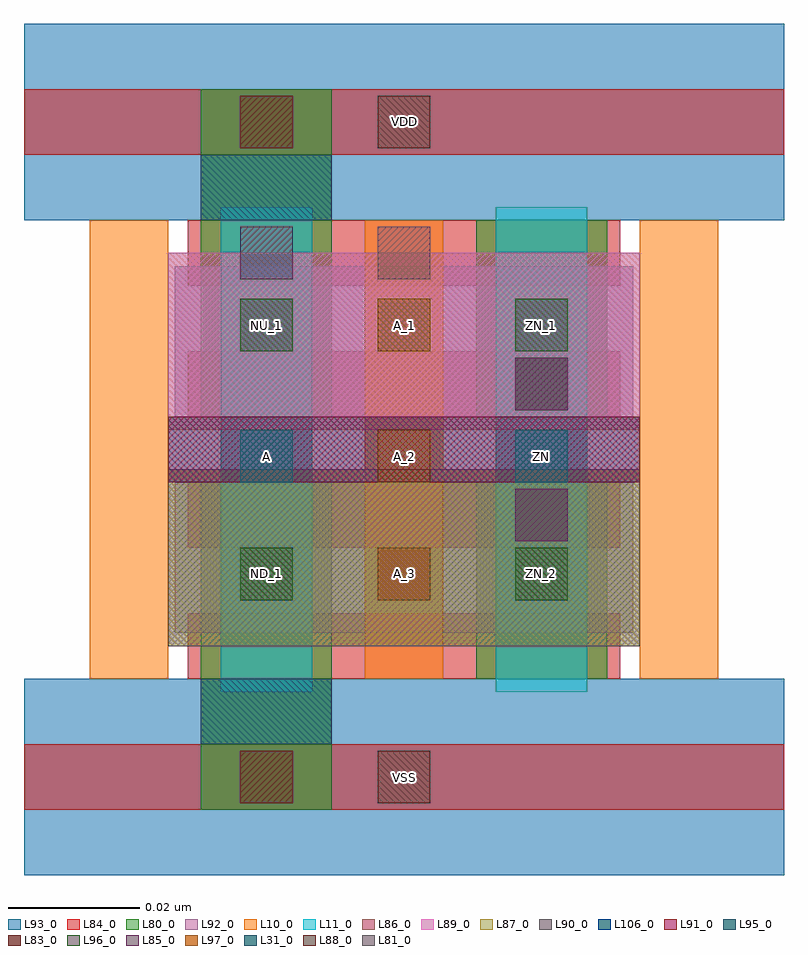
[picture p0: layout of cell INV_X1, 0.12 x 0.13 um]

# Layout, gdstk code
import gdstk
lib = gdstk.Library(unit=1e-6, precision=1e-09)
def R(c, l, rs):  # rectangles x0, y0, x1, y1
    for r in rs: c.add(gdstk.rectangle(r[:2], r[2:], *l))
def A(c, l, x, y, w, h, nx, ny, dx, dy):  # array of equal rectangles
    R(c, l, [(x+i*dx, y+j*dy, x+i*dx+w, y+j*dy+h) for i in range(nx) for j in range(ny)])
L10_0 = (10, 0)
L11_0 = (11, 0)
L31_0 = (31, 0)
L80_0 = (80, 0)
L81_0 = (81, 0)
L83_0 = (83, 0)
L84_0 = (84, 0)
L85_0 = (85, 0)
L86_0 = (86, 0)
L87_0 = (87, 0)
L88_0 = (88, 0)
L89_0 = (89, 0)
L90_0 = (90, 0)
L91_0 = (91, 0)
L92_0 = (92, 0)
L93_0 = (93, 0)
L95_0 = (95, 0)
L96_0 = (96, 0)
L97_0 = (97, 0)
L106_0 = (106, 0)

inv_x1 = lib.new_cell('INV_X1')
A(inv_x1, L10_0, -0.027, 0.015, 0.012, 0.07, 3, 1, 0.042, 0)
R(inv_x1, L11_0, [(-0.007,0.013,0.007,0.087), (0.035,0.013,0.049,0.087)])
R(inv_x1, L31_0, [(-0.004,0.045,0.004,0.053), (0.038,0.045,0.046,0.053)])
R(inv_x1, L80_0, [(-0.01,-0.005,0.01,0.025), (-0.01,0.015,0.01,0.045), (0.032,0.015,0.052,0.045), (-0.01,0.055,0.01,0.085), (0.032,0.055,0.052,0.085), (-0.01,0.075,0.01,0.105)])
R(inv_x1, L81_0, [(0.017,0.076,0.025,0.084)])
R(inv_x1, L83_0, [(-0.004,-0.004,0.004,0.004), (0.038,0.036,0.046,0.044), (0.038,0.056,0.046,0.064), (-0.004,0.096,0.004,0.104)])
A(inv_x1, L84_0, -0.012, 0.015, 0.066, 0.01, 1, 4, 0, 0.02)
R(inv_x1, L84_0, [(-0.037,-0.005,0.079,0.005), (-0.037,0.095,0.079,0.105)])
R(inv_x1, L85_0, [(0.038,0.036,0.046,0.044), (0.038,0.056,0.046,0.064), (-0.004,0.076,0.004,0.084)])
R(inv_x1, L86_0, [(-0.015,0.053,0.057,0.08)])
R(inv_x1, L87_0, [(-0.015,0.02,0.057,0.047)])
R(inv_x1, L88_0, [(0.017,-0.004,0.025,0.004), (0.017,0.096,0.025,0.104)])
R(inv_x1, L89_0, [(-0.015,0.053,0.057,0.08)])
R(inv_x1, L90_0, [(-0.015,0.02,0.057,0.047)])
R(inv_x1, L91_0, [(-0.015,0.045,0.057,0.055)])
R(inv_x1, L92_0, [(-0.014,0.022,0.056,0.045), (-0.014,0.055,0.056,0.078)])
R(inv_x1, L93_0, [(-0.037,-0.015,0.079,0.015), (-0.037,0.085,0.079,0.115)])
R(inv_x1, L95_0, [(-0.01,0.005,0.01,0.015), (-0.01,0.085,0.01,0.095)])
R(inv_x1, L96_0, [(-0.004,0.027,0.004,0.035), (0.038,0.027,0.046,0.035), (-0.004,0.065,0.004,0.073), (0.038,0.065,0.046,0.073)])
R(inv_x1, L97_0, [(0.017,0.027,0.025,0.035), (0.017,0.045,0.025,0.053), (0.017,0.065,0.025,0.073)])
R(inv_x1, L106_0, [(-0.015,0.045,0.057,0.055)])
inv_x1.add(gdstk.Label('ZN', (0.042,0.049), layer=31, texttype=0))
inv_x1.add(gdstk.Label('A', (0,0.049), layer=31, texttype=0))
inv_x1.add(gdstk.Label('VSS', (0.021,0), layer=88, texttype=0))
inv_x1.add(gdstk.Label('VDD', (0.021,0.1), layer=88, texttype=0))
inv_x1.add(gdstk.Label('NU_1', (0,0.069), layer=96, texttype=0))
inv_x1.add(gdstk.Label('ND_1', (0,0.031), layer=96, texttype=0))
inv_x1.add(gdstk.Label('ZN_2', (0.042,0.031), layer=96, texttype=0))
inv_x1.add(gdstk.Label('ZN_1', (0.042,0.069), layer=96, texttype=0))
inv_x1.add(gdstk.Label('A_3', (0.021,0.031), layer=97, texttype=0))
inv_x1.add(gdstk.Label('A_2', (0.021,0.049), layer=97, texttype=0))
inv_x1.add(gdstk.Label('A_1', (0.021,0.069), layer=97, texttype=0))

lib.write_gds('INV_X1.gds')
